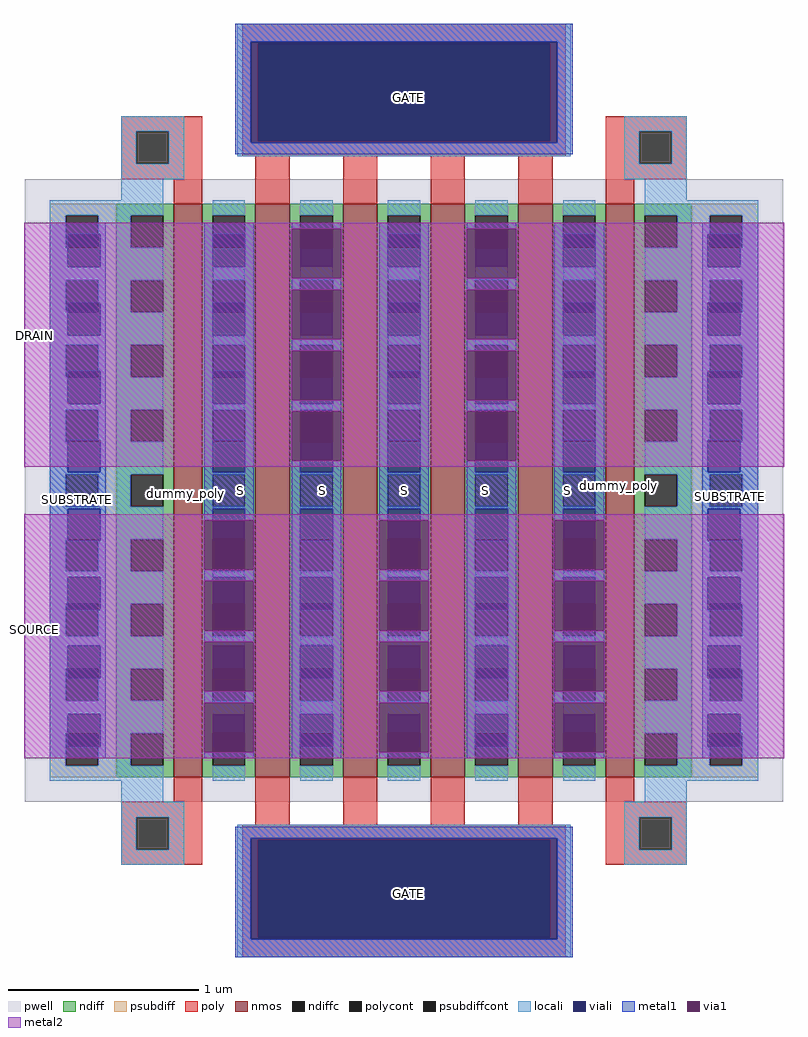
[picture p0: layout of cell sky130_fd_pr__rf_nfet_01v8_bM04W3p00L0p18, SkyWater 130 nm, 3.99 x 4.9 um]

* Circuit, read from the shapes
.subckt sky130_fd_pr__rf_nfet_01v8_bM04W3p00L0p18 DRAIN GATE SOURCE SUBSTRATE
XM1 SOURCE SUBSTRATE SUBSTRATE SUBSTRATE sky130_fd_pr__nfet_01v8 w=3.01 l=0.15 m=2
XM2 DRAIN GATE SOURCE SUBSTRATE sky130_fd_pr__nfet_01v8 w=3.01 l=0.18 m=4
.ends

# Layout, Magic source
magic
tech sky130A
magscale 1 2
<< pwell >>
rect 15 163 811 817
<< nmos >>
rect 171 189 201 791
rect 257 189 293 791
rect 349 189 385 791
rect 441 189 477 791
rect 533 189 569 791
rect 625 189 655 791
<< ndiff >>
rect 111 779 171 791
rect 111 745 126 779
rect 160 745 171 779
rect 111 711 171 745
rect 111 677 126 711
rect 160 677 171 711
rect 111 643 171 677
rect 111 609 126 643
rect 160 609 171 643
rect 111 575 171 609
rect 111 541 126 575
rect 160 541 171 575
rect 111 507 171 541
rect 111 473 126 507
rect 160 473 171 507
rect 111 439 171 473
rect 111 405 126 439
rect 160 405 171 439
rect 111 371 171 405
rect 111 337 126 371
rect 160 337 171 371
rect 111 303 171 337
rect 111 269 126 303
rect 160 269 171 303
rect 111 235 171 269
rect 111 201 126 235
rect 160 201 171 235
rect 111 189 171 201
rect 201 779 257 791
rect 201 745 212 779
rect 246 745 257 779
rect 201 711 257 745
rect 201 677 212 711
rect 246 677 257 711
rect 201 643 257 677
rect 201 609 212 643
rect 246 609 257 643
rect 201 575 257 609
rect 201 541 212 575
rect 246 541 257 575
rect 201 507 257 541
rect 201 473 212 507
rect 246 473 257 507
rect 201 439 257 473
rect 201 405 212 439
rect 246 405 257 439
rect 201 371 257 405
rect 201 337 212 371
rect 246 337 257 371
rect 201 303 257 337
rect 201 269 212 303
rect 246 269 257 303
rect 201 235 257 269
rect 201 201 212 235
rect 246 201 257 235
rect 201 189 257 201
rect 293 779 349 791
rect 293 745 304 779
rect 338 745 349 779
rect 293 711 349 745
rect 293 677 304 711
rect 338 677 349 711
rect 293 643 349 677
rect 293 609 304 643
rect 338 609 349 643
rect 293 575 349 609
rect 293 541 304 575
rect 338 541 349 575
rect 293 507 349 541
rect 293 473 304 507
rect 338 473 349 507
rect 293 439 349 473
rect 293 405 304 439
rect 338 405 349 439
rect 293 371 349 405
rect 293 337 304 371
rect 338 337 349 371
rect 293 303 349 337
rect 293 269 304 303
rect 338 269 349 303
rect 293 235 349 269
rect 293 201 304 235
rect 338 201 349 235
rect 293 189 349 201
rect 385 779 441 791
rect 385 745 396 779
rect 430 745 441 779
rect 385 711 441 745
rect 385 677 396 711
rect 430 677 441 711
rect 385 643 441 677
rect 385 609 396 643
rect 430 609 441 643
rect 385 575 441 609
rect 385 541 396 575
rect 430 541 441 575
rect 385 507 441 541
rect 385 473 396 507
rect 430 473 441 507
rect 385 439 441 473
rect 385 405 396 439
rect 430 405 441 439
rect 385 371 441 405
rect 385 337 396 371
rect 430 337 441 371
rect 385 303 441 337
rect 385 269 396 303
rect 430 269 441 303
rect 385 235 441 269
rect 385 201 396 235
rect 430 201 441 235
rect 385 189 441 201
rect 477 779 533 791
rect 477 745 488 779
rect 522 745 533 779
rect 477 711 533 745
rect 477 677 488 711
rect 522 677 533 711
rect 477 643 533 677
rect 477 609 488 643
rect 522 609 533 643
rect 477 575 533 609
rect 477 541 488 575
rect 522 541 533 575
rect 477 507 533 541
rect 477 473 488 507
rect 522 473 533 507
rect 477 439 533 473
rect 477 405 488 439
rect 522 405 533 439
rect 477 371 533 405
rect 477 337 488 371
rect 522 337 533 371
rect 477 303 533 337
rect 477 269 488 303
rect 522 269 533 303
rect 477 235 533 269
rect 477 201 488 235
rect 522 201 533 235
rect 477 189 533 201
rect 569 779 625 791
rect 569 745 580 779
rect 614 745 625 779
rect 569 711 625 745
rect 569 677 580 711
rect 614 677 625 711
rect 569 643 625 677
rect 569 609 580 643
rect 614 609 625 643
rect 569 575 625 609
rect 569 541 580 575
rect 614 541 625 575
rect 569 507 625 541
rect 569 473 580 507
rect 614 473 625 507
rect 569 439 625 473
rect 569 405 580 439
rect 614 405 625 439
rect 569 371 625 405
rect 569 337 580 371
rect 614 337 625 371
rect 569 303 625 337
rect 569 269 580 303
rect 614 269 625 303
rect 569 235 625 269
rect 569 201 580 235
rect 614 201 625 235
rect 569 189 625 201
rect 655 779 715 791
rect 655 745 666 779
rect 700 745 715 779
rect 655 711 715 745
rect 655 677 666 711
rect 700 677 715 711
rect 655 643 715 677
rect 655 609 666 643
rect 700 609 715 643
rect 655 575 715 609
rect 655 541 666 575
rect 700 541 715 575
rect 655 507 715 541
rect 655 473 666 507
rect 700 473 715 507
rect 655 439 715 473
rect 655 405 666 439
rect 700 405 715 439
rect 655 371 715 405
rect 655 337 666 371
rect 700 337 715 371
rect 655 303 715 337
rect 655 269 666 303
rect 700 269 715 303
rect 655 235 715 269
rect 655 201 666 235
rect 700 201 715 235
rect 655 189 715 201
<< ndiffc >>
rect 126 745 160 779
rect 126 677 160 711
rect 126 609 160 643
rect 126 541 160 575
rect 126 473 160 507
rect 126 405 160 439
rect 126 337 160 371
rect 126 269 160 303
rect 126 201 160 235
rect 212 745 246 779
rect 212 677 246 711
rect 212 609 246 643
rect 212 541 246 575
rect 212 473 246 507
rect 212 405 246 439
rect 212 337 246 371
rect 212 269 246 303
rect 212 201 246 235
rect 304 745 338 779
rect 304 677 338 711
rect 304 609 338 643
rect 304 541 338 575
rect 304 473 338 507
rect 304 405 338 439
rect 304 337 338 371
rect 304 269 338 303
rect 304 201 338 235
rect 396 745 430 779
rect 396 677 430 711
rect 396 609 430 643
rect 396 541 430 575
rect 396 473 430 507
rect 396 405 430 439
rect 396 337 430 371
rect 396 269 430 303
rect 396 201 430 235
rect 488 745 522 779
rect 488 677 522 711
rect 488 609 522 643
rect 488 541 522 575
rect 488 473 522 507
rect 488 405 522 439
rect 488 337 522 371
rect 488 269 522 303
rect 488 201 522 235
rect 580 745 614 779
rect 580 677 614 711
rect 580 609 614 643
rect 580 541 614 575
rect 580 473 614 507
rect 580 405 614 439
rect 580 337 614 371
rect 580 269 614 303
rect 580 201 614 235
rect 666 745 700 779
rect 666 677 700 711
rect 666 609 700 643
rect 666 541 700 575
rect 666 473 700 507
rect 666 405 700 439
rect 666 337 700 371
rect 666 269 700 303
rect 666 201 700 235
<< psubdiff >>
rect 41 779 111 791
rect 41 745 58 779
rect 92 745 111 779
rect 41 711 111 745
rect 41 677 58 711
rect 92 677 111 711
rect 41 643 111 677
rect 41 609 58 643
rect 92 609 111 643
rect 41 575 111 609
rect 41 541 58 575
rect 92 541 111 575
rect 41 507 111 541
rect 41 473 58 507
rect 92 473 111 507
rect 41 439 111 473
rect 41 405 58 439
rect 92 405 111 439
rect 41 371 111 405
rect 41 337 58 371
rect 92 337 111 371
rect 41 303 111 337
rect 41 269 58 303
rect 92 269 111 303
rect 41 235 111 269
rect 41 201 58 235
rect 92 201 111 235
rect 41 189 111 201
rect 715 779 785 791
rect 715 745 734 779
rect 768 745 785 779
rect 715 711 785 745
rect 715 677 734 711
rect 768 677 785 711
rect 715 643 785 677
rect 715 609 734 643
rect 768 609 785 643
rect 715 575 785 609
rect 715 541 734 575
rect 768 541 785 575
rect 715 507 785 541
rect 715 473 734 507
rect 768 473 785 507
rect 715 439 785 473
rect 715 405 734 439
rect 768 405 785 439
rect 715 371 785 405
rect 715 337 734 371
rect 768 337 785 371
rect 715 303 785 337
rect 715 269 734 303
rect 768 269 785 303
rect 715 235 785 269
rect 715 201 734 235
rect 768 201 785 235
rect 715 189 785 201
<< psubdiffcont >>
rect 58 745 92 779
rect 58 677 92 711
rect 58 609 92 643
rect 58 541 92 575
rect 58 473 92 507
rect 58 405 92 439
rect 58 337 92 371
rect 58 269 92 303
rect 58 201 92 235
rect 734 745 768 779
rect 734 677 768 711
rect 734 609 768 643
rect 734 541 768 575
rect 734 473 768 507
rect 734 405 768 439
rect 734 337 768 371
rect 734 269 768 303
rect 734 201 768 235
<< poly >>
rect 243 959 583 980
rect 116 867 201 883
rect 116 833 132 867
rect 166 833 201 867
rect 243 857 260 959
rect 566 857 583 959
rect 243 841 583 857
rect 625 867 710 883
rect 116 817 201 833
rect 171 791 201 817
rect 257 791 293 841
rect 349 791 385 841
rect 441 791 477 841
rect 533 791 569 841
rect 625 833 660 867
rect 694 833 710 867
rect 625 817 710 833
rect 625 791 655 817
rect 171 163 201 189
rect 116 147 201 163
rect 116 113 132 147
rect 166 113 201 147
rect 257 139 293 189
rect 349 139 385 189
rect 441 139 477 189
rect 533 139 569 189
rect 625 163 655 189
rect 625 147 710 163
rect 116 97 201 113
rect 243 123 583 139
rect 243 21 260 123
rect 566 21 583 123
rect 625 113 660 147
rect 694 113 710 147
rect 625 97 710 113
rect 243 0 583 21
<< polycont >>
rect 132 833 166 867
rect 260 857 566 959
rect 660 833 694 867
rect 132 113 166 147
rect 260 21 566 123
rect 660 113 694 147
<< locali >>
rect 238 961 588 980
rect 116 867 182 883
rect 116 833 132 867
rect 166 833 182 867
rect 238 855 252 961
rect 574 855 588 961
rect 238 841 588 855
rect 644 867 710 883
rect 116 817 182 833
rect 644 833 660 867
rect 694 833 710 867
rect 644 817 710 833
rect 116 795 160 817
rect 666 795 710 817
rect 41 779 160 795
rect 41 745 58 779
rect 92 759 126 779
rect 94 745 126 759
rect 41 725 60 745
rect 94 725 160 745
rect 41 711 160 725
rect 41 677 58 711
rect 92 687 126 711
rect 94 677 126 687
rect 41 653 60 677
rect 94 653 160 677
rect 41 643 160 653
rect 41 609 58 643
rect 92 615 126 643
rect 94 609 126 615
rect 41 581 60 609
rect 94 581 160 609
rect 41 575 160 581
rect 41 541 58 575
rect 92 543 126 575
rect 94 541 126 543
rect 41 509 60 541
rect 94 509 160 541
rect 41 507 160 509
rect 41 473 58 507
rect 92 473 126 507
rect 41 471 160 473
rect 41 439 60 471
rect 94 439 160 471
rect 41 405 58 439
rect 94 437 126 439
rect 92 405 126 437
rect 41 399 160 405
rect 41 371 60 399
rect 94 371 160 399
rect 41 337 58 371
rect 94 365 126 371
rect 92 337 126 365
rect 41 327 160 337
rect 41 303 60 327
rect 94 303 160 327
rect 41 269 58 303
rect 94 293 126 303
rect 92 269 126 293
rect 41 255 160 269
rect 41 235 60 255
rect 94 235 160 255
rect 41 201 58 235
rect 94 221 126 235
rect 92 201 126 221
rect 41 185 160 201
rect 212 779 246 795
rect 212 711 246 725
rect 212 643 246 653
rect 212 575 246 581
rect 212 507 246 509
rect 212 471 246 473
rect 212 399 246 405
rect 212 327 246 337
rect 212 255 246 269
rect 212 185 246 201
rect 304 779 338 795
rect 304 711 338 725
rect 304 643 338 653
rect 304 575 338 581
rect 304 507 338 509
rect 304 471 338 473
rect 304 399 338 405
rect 304 327 338 337
rect 304 255 338 269
rect 304 185 338 201
rect 396 779 430 795
rect 396 711 430 725
rect 396 643 430 653
rect 396 575 430 581
rect 396 507 430 509
rect 396 471 430 473
rect 396 399 430 405
rect 396 327 430 337
rect 396 255 430 269
rect 396 185 430 201
rect 488 779 522 795
rect 488 711 522 725
rect 488 643 522 653
rect 488 575 522 581
rect 488 507 522 509
rect 488 471 522 473
rect 488 399 522 405
rect 488 327 522 337
rect 488 255 522 269
rect 488 185 522 201
rect 580 779 614 795
rect 580 711 614 725
rect 580 643 614 653
rect 580 575 614 581
rect 580 507 614 509
rect 580 471 614 473
rect 580 399 614 405
rect 580 327 614 337
rect 580 255 614 269
rect 580 185 614 201
rect 666 779 785 795
rect 700 759 734 779
rect 700 745 732 759
rect 768 745 785 779
rect 666 725 732 745
rect 766 725 785 745
rect 666 711 785 725
rect 700 687 734 711
rect 700 677 732 687
rect 768 677 785 711
rect 666 653 732 677
rect 766 653 785 677
rect 666 643 785 653
rect 700 615 734 643
rect 700 609 732 615
rect 768 609 785 643
rect 666 581 732 609
rect 766 581 785 609
rect 666 575 785 581
rect 700 543 734 575
rect 700 541 732 543
rect 768 541 785 575
rect 666 509 732 541
rect 766 509 785 541
rect 666 507 785 509
rect 700 473 734 507
rect 768 473 785 507
rect 666 471 785 473
rect 666 439 732 471
rect 766 439 785 471
rect 700 437 732 439
rect 700 405 734 437
rect 768 405 785 439
rect 666 399 785 405
rect 666 371 732 399
rect 766 371 785 399
rect 700 365 732 371
rect 700 337 734 365
rect 768 337 785 371
rect 666 327 785 337
rect 666 303 732 327
rect 766 303 785 327
rect 700 293 732 303
rect 700 269 734 293
rect 768 269 785 303
rect 666 255 785 269
rect 666 235 732 255
rect 766 235 785 255
rect 700 221 732 235
rect 700 201 734 221
rect 768 201 785 235
rect 666 185 785 201
rect 116 163 160 185
rect 666 163 710 185
rect 116 147 182 163
rect 116 113 132 147
rect 166 113 182 147
rect 644 147 710 163
rect 116 97 182 113
rect 238 125 588 139
rect 238 19 252 125
rect 574 19 588 125
rect 644 113 660 147
rect 694 113 710 147
rect 644 97 710 113
rect 238 0 588 19
<< viali >>
rect 252 959 574 961
rect 252 857 260 959
rect 260 857 566 959
rect 566 857 574 959
rect 252 855 574 857
rect 60 745 92 759
rect 92 745 94 759
rect 60 725 94 745
rect 60 677 92 687
rect 92 677 94 687
rect 60 653 94 677
rect 60 609 92 615
rect 92 609 94 615
rect 60 581 94 609
rect 60 541 92 543
rect 92 541 94 543
rect 60 509 94 541
rect 60 439 94 471
rect 60 437 92 439
rect 92 437 94 439
rect 60 371 94 399
rect 60 365 92 371
rect 92 365 94 371
rect 60 303 94 327
rect 60 293 92 303
rect 92 293 94 303
rect 60 235 94 255
rect 60 221 92 235
rect 92 221 94 235
rect 212 745 246 759
rect 212 725 246 745
rect 212 677 246 687
rect 212 653 246 677
rect 212 609 246 615
rect 212 581 246 609
rect 212 541 246 543
rect 212 509 246 541
rect 212 439 246 471
rect 212 437 246 439
rect 212 371 246 399
rect 212 365 246 371
rect 212 303 246 327
rect 212 293 246 303
rect 212 235 246 255
rect 212 221 246 235
rect 304 745 338 759
rect 304 725 338 745
rect 304 677 338 687
rect 304 653 338 677
rect 304 609 338 615
rect 304 581 338 609
rect 304 541 338 543
rect 304 509 338 541
rect 304 439 338 471
rect 304 437 338 439
rect 304 371 338 399
rect 304 365 338 371
rect 304 303 338 327
rect 304 293 338 303
rect 304 235 338 255
rect 304 221 338 235
rect 396 745 430 759
rect 396 725 430 745
rect 396 677 430 687
rect 396 653 430 677
rect 396 609 430 615
rect 396 581 430 609
rect 396 541 430 543
rect 396 509 430 541
rect 396 439 430 471
rect 396 437 430 439
rect 396 371 430 399
rect 396 365 430 371
rect 396 303 430 327
rect 396 293 430 303
rect 396 235 430 255
rect 396 221 430 235
rect 488 745 522 759
rect 488 725 522 745
rect 488 677 522 687
rect 488 653 522 677
rect 488 609 522 615
rect 488 581 522 609
rect 488 541 522 543
rect 488 509 522 541
rect 488 439 522 471
rect 488 437 522 439
rect 488 371 522 399
rect 488 365 522 371
rect 488 303 522 327
rect 488 293 522 303
rect 488 235 522 255
rect 488 221 522 235
rect 580 745 614 759
rect 580 725 614 745
rect 580 677 614 687
rect 580 653 614 677
rect 580 609 614 615
rect 580 581 614 609
rect 580 541 614 543
rect 580 509 614 541
rect 580 439 614 471
rect 580 437 614 439
rect 580 371 614 399
rect 580 365 614 371
rect 580 303 614 327
rect 580 293 614 303
rect 580 235 614 255
rect 580 221 614 235
rect 732 745 734 759
rect 734 745 766 759
rect 732 725 766 745
rect 732 677 734 687
rect 734 677 766 687
rect 732 653 766 677
rect 732 609 734 615
rect 734 609 766 615
rect 732 581 766 609
rect 732 541 734 543
rect 734 541 766 543
rect 732 509 766 541
rect 732 439 766 471
rect 732 437 734 439
rect 734 437 766 439
rect 732 371 766 399
rect 732 365 734 371
rect 734 365 766 371
rect 732 303 766 327
rect 732 293 734 303
rect 734 293 766 303
rect 732 235 766 255
rect 732 221 734 235
rect 734 221 766 235
rect 252 123 574 125
rect 252 21 260 123
rect 260 21 566 123
rect 566 21 574 123
rect 252 19 574 21
<< metal1 >>
rect 236 961 590 980
rect 236 855 252 961
rect 574 855 590 961
rect 236 843 590 855
rect 41 759 100 771
rect 41 725 60 759
rect 94 725 100 759
rect 41 687 100 725
rect 41 653 60 687
rect 94 653 100 687
rect 41 615 100 653
rect 41 581 60 615
rect 94 581 100 615
rect 41 543 100 581
rect 41 509 60 543
rect 94 509 100 543
rect 41 471 100 509
rect 41 437 60 471
rect 94 437 100 471
rect 41 399 100 437
rect 41 365 60 399
rect 94 365 100 399
rect 41 327 100 365
rect 41 293 60 327
rect 94 293 100 327
rect 41 255 100 293
rect 41 221 60 255
rect 94 221 100 255
rect 41 209 100 221
rect 203 759 255 771
rect 203 725 212 759
rect 246 725 255 759
rect 203 687 255 725
rect 203 653 212 687
rect 246 653 255 687
rect 203 615 255 653
rect 203 581 212 615
rect 246 581 255 615
rect 203 543 255 581
rect 203 509 212 543
rect 246 509 255 543
rect 203 471 255 509
rect 203 459 212 471
rect 246 459 255 471
rect 203 399 255 407
rect 203 395 212 399
rect 246 395 255 399
rect 203 331 255 343
rect 203 267 255 279
rect 203 209 255 215
rect 295 765 347 771
rect 295 701 347 713
rect 295 637 347 649
rect 295 581 304 585
rect 338 581 347 585
rect 295 573 347 581
rect 295 509 304 521
rect 338 509 347 521
rect 295 471 347 509
rect 295 437 304 471
rect 338 437 347 471
rect 295 399 347 437
rect 295 365 304 399
rect 338 365 347 399
rect 295 327 347 365
rect 295 293 304 327
rect 338 293 347 327
rect 295 255 347 293
rect 295 221 304 255
rect 338 221 347 255
rect 295 209 347 221
rect 387 759 439 771
rect 387 725 396 759
rect 430 725 439 759
rect 387 687 439 725
rect 387 653 396 687
rect 430 653 439 687
rect 387 615 439 653
rect 387 581 396 615
rect 430 581 439 615
rect 387 543 439 581
rect 387 509 396 543
rect 430 509 439 543
rect 387 471 439 509
rect 387 459 396 471
rect 430 459 439 471
rect 387 399 439 407
rect 387 395 396 399
rect 430 395 439 399
rect 387 331 439 343
rect 387 267 439 279
rect 387 209 439 215
rect 479 765 531 771
rect 479 701 531 713
rect 479 637 531 649
rect 479 581 488 585
rect 522 581 531 585
rect 479 573 531 581
rect 479 509 488 521
rect 522 509 531 521
rect 479 471 531 509
rect 479 437 488 471
rect 522 437 531 471
rect 479 399 531 437
rect 479 365 488 399
rect 522 365 531 399
rect 479 327 531 365
rect 479 293 488 327
rect 522 293 531 327
rect 479 255 531 293
rect 479 221 488 255
rect 522 221 531 255
rect 479 209 531 221
rect 571 759 623 771
rect 571 725 580 759
rect 614 725 623 759
rect 571 687 623 725
rect 571 653 580 687
rect 614 653 623 687
rect 571 615 623 653
rect 571 581 580 615
rect 614 581 623 615
rect 571 543 623 581
rect 571 509 580 543
rect 614 509 623 543
rect 571 471 623 509
rect 571 459 580 471
rect 614 459 623 471
rect 571 399 623 407
rect 571 395 580 399
rect 614 395 623 399
rect 571 331 623 343
rect 571 267 623 279
rect 571 209 623 215
rect 726 759 785 771
rect 726 725 732 759
rect 766 725 785 759
rect 726 687 785 725
rect 726 653 732 687
rect 766 653 785 687
rect 726 615 785 653
rect 726 581 732 615
rect 766 581 785 615
rect 726 543 785 581
rect 726 509 732 543
rect 766 509 785 543
rect 726 471 785 509
rect 726 437 732 471
rect 766 437 785 471
rect 726 399 785 437
rect 726 365 732 399
rect 766 365 785 399
rect 726 327 785 365
rect 726 293 732 327
rect 766 293 785 327
rect 726 255 785 293
rect 726 221 732 255
rect 766 221 785 255
rect 726 209 785 221
rect 236 125 590 137
rect 236 19 252 125
rect 574 19 590 125
rect 236 0 590 19
<< via1 >>
rect 203 437 212 459
rect 212 437 246 459
rect 246 437 255 459
rect 203 407 255 437
rect 203 365 212 395
rect 212 365 246 395
rect 246 365 255 395
rect 203 343 255 365
rect 203 327 255 331
rect 203 293 212 327
rect 212 293 246 327
rect 246 293 255 327
rect 203 279 255 293
rect 203 255 255 267
rect 203 221 212 255
rect 212 221 246 255
rect 246 221 255 255
rect 203 215 255 221
rect 295 759 347 765
rect 295 725 304 759
rect 304 725 338 759
rect 338 725 347 759
rect 295 713 347 725
rect 295 687 347 701
rect 295 653 304 687
rect 304 653 338 687
rect 338 653 347 687
rect 295 649 347 653
rect 295 615 347 637
rect 295 585 304 615
rect 304 585 338 615
rect 338 585 347 615
rect 295 543 347 573
rect 295 521 304 543
rect 304 521 338 543
rect 338 521 347 543
rect 387 437 396 459
rect 396 437 430 459
rect 430 437 439 459
rect 387 407 439 437
rect 387 365 396 395
rect 396 365 430 395
rect 430 365 439 395
rect 387 343 439 365
rect 387 327 439 331
rect 387 293 396 327
rect 396 293 430 327
rect 430 293 439 327
rect 387 279 439 293
rect 387 255 439 267
rect 387 221 396 255
rect 396 221 430 255
rect 430 221 439 255
rect 387 215 439 221
rect 479 759 531 765
rect 479 725 488 759
rect 488 725 522 759
rect 522 725 531 759
rect 479 713 531 725
rect 479 687 531 701
rect 479 653 488 687
rect 488 653 522 687
rect 522 653 531 687
rect 479 649 531 653
rect 479 615 531 637
rect 479 585 488 615
rect 488 585 522 615
rect 522 585 531 615
rect 479 543 531 573
rect 479 521 488 543
rect 488 521 522 543
rect 522 521 531 543
rect 571 437 580 459
rect 580 437 614 459
rect 614 437 623 459
rect 571 407 623 437
rect 571 365 580 395
rect 580 365 614 395
rect 614 365 623 395
rect 571 343 623 365
rect 571 327 623 331
rect 571 293 580 327
rect 580 293 614 327
rect 614 293 623 327
rect 571 279 623 293
rect 571 255 623 267
rect 571 221 580 255
rect 580 221 614 255
rect 614 221 623 255
rect 571 215 623 221
<< metal2 >>
rect 14 765 812 771
rect 14 713 295 765
rect 347 713 479 765
rect 531 713 812 765
rect 14 701 812 713
rect 14 649 295 701
rect 347 649 479 701
rect 531 649 812 701
rect 14 637 812 649
rect 14 585 295 637
rect 347 585 479 637
rect 531 585 812 637
rect 14 573 812 585
rect 14 521 295 573
rect 347 521 479 573
rect 531 521 812 573
rect 14 515 812 521
rect 14 459 812 465
rect 14 407 203 459
rect 255 407 387 459
rect 439 407 571 459
rect 623 407 812 459
rect 14 395 812 407
rect 14 343 203 395
rect 255 343 387 395
rect 439 343 571 395
rect 623 343 812 395
rect 14 331 812 343
rect 14 279 203 331
rect 255 279 387 331
rect 439 279 571 331
rect 623 279 812 331
rect 14 267 812 279
rect 14 215 203 267
rect 255 215 387 267
rect 439 215 571 267
rect 623 215 812 267
rect 14 209 812 215
<< labels >>
flabel metal1 s 301 42 535 92 0 FreeSans 200 0 0 0 GATE
port 2 nsew
flabel metal1 s 301 878 535 928 0 FreeSans 200 0 0 0 GATE
port 2 nsew
flabel metal1 s 41 466 100 496 0 FreeSans 200 90 0 0 SUBSTRATE
port 4 nsew
flabel metal1 s 726 469 785 499 0 FreeSans 200 90 0 0 SUBSTRATE
port 4 nsew
flabel comment s 184 487 184 487 0 FreeSans 180 90 0 0 dummy_poly
flabel comment s 241 490 241 490 0 FreeSans 300 0 0 0 S
flabel comment s 327 490 327 490 0 FreeSans 300 0 0 0 S
flabel comment s 413 490 413 490 0 FreeSans 300 0 0 0 S
flabel comment s 499 490 499 490 0 FreeSans 300 0 0 0 S
flabel comment s 241 490 241 490 0 FreeSans 300 0 0 0 S
flabel comment s 327 490 327 490 0 FreeSans 300 0 0 0 D
flabel comment s 413 490 413 490 0 FreeSans 300 0 0 0 S
flabel comment s 499 490 499 490 0 FreeSans 300 0 0 0 D
flabel comment s 585 490 585 490 0 FreeSans 300 0 0 0 S
flabel comment s 638 495 638 495 0 FreeSans 180 90 0 0 dummy_poly
flabel metal2 s 14 280 35 408 7 FreeSans 300 180 0 0 SOURCE
port 3 nsew
flabel metal2 s 14 589 35 717 7 FreeSans 300 180 0 0 DRAIN
port 1 nsew
<< properties >>
string GDS_FILE $PDKPATH/libs.ref/sky130_fd_pr/gds/sky130_fd_pr.gds
string GDS_END 5702144
string GDS_START 5681318
<< end >>
